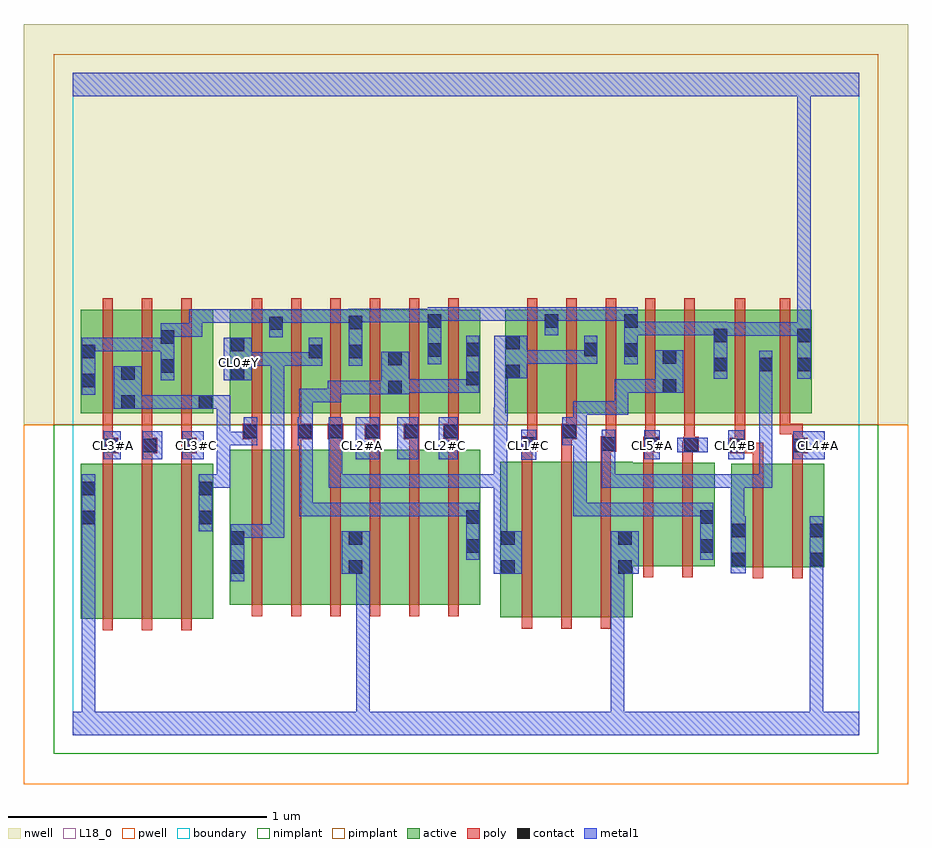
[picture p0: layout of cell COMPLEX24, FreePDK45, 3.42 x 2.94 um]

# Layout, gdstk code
import gdstk
lib = gdstk.Library(unit=1e-6, precision=1e-09)
def R(c, l, rs):  # rectangles x0, y0, x1, y1
    for r in rs: c.add(gdstk.rectangle(r[:2], r[2:], *l))
def A(c, l, x, y, w, h, nx, ny, dx, dy):  # array of equal rectangles
    R(c, l, [(x+i*dx, y+j*dy, x+i*dx+w, y+j*dy+h) for i in range(nx) for j in range(ny)])
active = (1, 0)
pwell = (2, 0)
nwell = (3, 0)
nimplant = (4, 0)
pimplant = (5, 0)
poly = (9, 0)
contact = (10, 0)
metal1 = (11, 0)
L18_0 = (18, 0)
boundary = (235, 0)

complex24 = lib.new_cell('COMPLEX24')
A(complex24, active, 0.032, 1.244, 0.06, 0.4, 3, 1, 0.152, 0)
A(complex24, active, 1.064, 1.244, 0.06, 0.4, 3, 1, 0.152, 0)
R(complex24, active, [(0.032,0.45,0.212,1.05), (0.032,0.45,0.092,1.05), (0.212,0.45,0.364,1.05), (0.364,0.45,0.544,1.05), (0.484,0.45,0.544,1.05), (1.652,0.456,1.832,1.056), (1.832,0.456,1.984,1.056), (1.984,0.456,2.164,1.056), (2.104,0.456,2.164,0.792), (0.608,0.504,0.788,1.104), (0.788,0.504,0.94,1.104), (0.94,0.504,1.124,1.104), (1.064,0.504,1.244,1.104), (1.244,0.504,1.396,1.104), (1.396,0.504,1.576,1.104), (0.608,0.556,0.668,1.104), (1.064,0.556,1.124,0.792), (1.516,0.556,1.576,1.104), (1.652,0.556,1.712,1.056), (2.544,0.65,2.604,1.05), (2.544,0.65,2.724,1.05), (2.724,0.65,2.904,1.05), (2.844,0.65,2.904,1.05), (2.104,0.654,2.3,1.054), (2.3,0.654,2.48,1.054), (2.42,0.702,2.48,1.054), (0.032,1.244,0.244,1.644), (0.184,1.244,0.396,1.644), (0.336,1.244,0.544,1.644), (0.484,1.244,0.544,1.644), (0.608,1.244,0.668,1.644), (0.608,1.244,0.816,1.644), (0.756,1.244,0.816,1.644), (0.756,1.244,0.968,1.644), (0.908,1.244,0.968,1.644), (0.908,1.244,1.124,1.644), (1.064,1.244,1.276,1.644), (1.216,1.244,1.428,1.644), (1.368,1.244,1.576,1.644), (1.516,1.244,1.576,1.644), (1.672,1.244,1.732,1.644), (1.672,1.244,1.88,1.644), (1.82,1.244,1.88,1.644), (1.82,1.244,2.032,1.644), (1.972,1.244,2.032,1.644), (1.972,1.244,2.188,1.644), (2.128,1.244,2.188,1.644), (2.128,1.244,2.336,1.644), (2.276,1.244,2.336,1.644), (2.276,1.244,2.534,1.644), (2.474,1.244,2.534,1.644), (2.474,1.244,2.708,1.644), (2.648,1.244,2.708,1.644), (2.648,1.244,2.856,1.644), (2.796,1.244,2.856,1.644)])
R(complex24, pwell, [(-0.188,-0.188,3.228,1.2)])
R(complex24, nwell, [(-0.188,1.2,3.228,2.748)])
R(complex24, nimplant, [(-0.072,-0.072,3.112,1.2)])
R(complex24, pimplant, [(-0.072,1.2,3.112,2.632)])
A(complex24, poly, 0.116, 0.406, 0.04, 0.688, 3, 1, 0.152, 0)
A(complex24, poly, 1.736, 0.412, 0.04, 0.688, 3, 1, 0.152, 0)
A(complex24, poly, 0.692, 0.46, 0.04, 0.688, 6, 1, 0.152, 0)
A(complex24, poly, 0.116, 1.054, 0.04, 0.076, 3, 1, 0.152, 0)
A(complex24, poly, 0.116, 1.09, 0.06, 0.06, 3, 1, 0.152, 0)
A(complex24, poly, 0.692, 1.108, 0.04, 0.076, 6, 1, 0.152, 0)
A(complex24, poly, 0.116, 1.11, 0.04, 0.13, 3, 1, 0.152, 0)
A(complex24, poly, 1.128, 1.144, 0.06, 0.06, 3, 1, 0.152, 0)
A(complex24, poly, 0.844, 1.164, 0.04, 0.076, 5, 1, 0.152, 0)
A(complex24, poly, 0.116, 1.2, 0.04, 0.488, 3, 1, 0.152, 0)
A(complex24, poly, 0.844, 1.2, 0.04, 0.488, 5, 1, 0.152, 0)
A(complex24, poly, 1.756, 1.2, 0.04, 0.488, 5, 1, 0.152, 0)
R(complex24, poly, [(2.628,0.606,2.668,1.094), (2.78,0.606,2.82,1.094), (2.204,0.61,2.244,1.098), (2.356,0.61,2.396,1.098), (2.628,1.054,2.668,1.13), (2.78,1.054,2.82,1.13), (2.204,1.058,2.244,1.134), (2.356,1.058,2.396,1.134), (1.736,1.06,1.776,1.136), (1.888,1.06,1.928,1.184), (2.04,1.06,2.08,1.136), (0.116,1.09,0.156,1.13), (0.116,1.09,0.156,1.13), (0.268,1.09,0.308,1.13), (0.268,1.09,0.308,1.13), (0.42,1.09,0.46,1.13), (0.42,1.09,0.46,1.13), (2.538,1.09,2.598,1.15), (2.558,1.09,2.598,1.13), (2.558,1.09,2.668,1.13), (2.78,1.09,2.84,1.15), (2.204,1.094,2.264,1.154), (2.204,1.094,2.244,1.134), (2.204,1.094,2.244,1.134), (2.356,1.094,2.4,1.134), (2.36,1.094,2.42,1.154), (2.36,1.094,2.4,1.134), (1.736,1.096,1.796,1.156), (2.04,1.096,2.1,1.156), (2.558,1.11,2.598,1.24), (2.78,1.11,2.82,1.204), (2.212,1.114,2.252,1.24), (2.364,1.114,2.404,1.24), (1.756,1.116,1.796,1.156), (1.756,1.116,1.796,1.156), (1.756,1.116,1.796,1.24), (2.06,1.116,2.1,1.156), (2.06,1.116,2.1,1.156), (2.06,1.116,2.1,1.24), (0.658,1.144,0.732,1.204), (0.692,1.144,0.732,1.184), (0.692,1.144,0.732,1.184), (0.844,1.144,0.884,1.184), (0.844,1.144,0.884,1.184), (0.844,1.144,0.926,1.204), (0.986,1.144,1.046,1.204), (1.148,1.144,1.188,1.184), (1.148,1.144,1.188,1.184), (1.3,1.144,1.34,1.184), (1.3,1.144,1.34,1.184), (1.452,1.144,1.492,1.184), (1.452,1.144,1.492,1.184), (1.888,1.144,1.948,1.204), (1.888,1.144,1.928,1.184), (1.888,1.144,1.928,1.184), (0.692,1.164,0.732,1.204), (0.692,1.164,0.732,1.688), (0.996,1.164,1.036,1.204), (0.996,1.164,1.036,1.204), (1.908,1.164,1.948,1.24), (2.732,1.164,2.772,1.24), (2.732,1.164,2.82,1.204), (2.558,1.2,2.598,1.688), (2.732,1.2,2.772,1.688)])
A(complex24, contact, 0.12, 1.094, 0.052, 0.052, 3, 1, 0.152, 0)
A(complex24, contact, 1.132, 1.148, 0.052, 0.052, 3, 1, 0.152, 0)
R(complex24, contact, [(0.612,0.624,0.664,0.676), (1.068,0.624,1.12,0.676), (1.656,0.624,1.708,0.676), (2.108,0.624,2.16,0.676), (2.548,0.654,2.6,0.706), (2.848,0.654,2.9,0.706), (1.52,0.706,1.572,0.758), (2.424,0.706,2.476,0.758), (0.612,0.736,0.664,0.788), (1.068,0.736,1.12,0.788), (1.656,0.736,1.708,0.788), (2.108,0.736,2.16,0.788), (2.548,0.766,2.6,0.818), (2.848,0.766,2.9,0.818), (0.036,0.816,0.088,0.868), (0.488,0.816,0.54,0.868), (1.52,0.818,1.572,0.87), (2.424,0.818,2.476,0.87), (0.036,0.928,0.088,0.98), (0.488,0.928,0.54,0.98), (2.542,1.094,2.594,1.146), (2.784,1.094,2.836,1.146), (2.208,1.098,2.26,1.15), (2.364,1.098,2.416,1.15), (1.74,1.1,1.792,1.152), (2.044,1.1,2.096,1.152), (0.662,1.148,0.714,1.2), (0.87,1.148,0.922,1.2), (0.99,1.148,1.042,1.2), (1.892,1.148,1.944,1.2), (0.188,1.262,0.24,1.314), (0.488,1.262,0.54,1.314), (1.22,1.318,1.272,1.37), (2.28,1.324,2.332,1.376), (0.036,1.344,0.088,1.396), (1.52,1.352,1.572,1.404), (0.612,1.372,0.664,1.424), (0.188,1.374,0.24,1.426), (1.676,1.38,1.728,1.432), (0.34,1.4,0.392,1.452), (2.478,1.406,2.53,1.458), (2.652,1.406,2.704,1.458), (2.8,1.406,2.852,1.458), (1.22,1.43,1.272,1.482), (2.28,1.436,2.332,1.488), (0.036,1.456,0.088,1.508), (0.912,1.456,0.964,1.508), (1.068,1.456,1.12,1.508), (1.372,1.462,1.424,1.514), (2.132,1.462,2.184,1.514), (1.52,1.464,1.572,1.516), (1.976,1.464,2.028,1.516), (0.612,1.484,0.664,1.536), (1.676,1.492,1.728,1.544), (0.34,1.512,0.392,1.564), (2.478,1.518,2.53,1.57), (2.8,1.518,2.852,1.57), (0.76,1.566,0.812,1.618), (1.068,1.568,1.12,1.62), (1.372,1.574,1.424,1.626), (1.824,1.574,1.876,1.626), (2.132,1.574,2.184,1.626)])
R(complex24, metal1, [(0,0,3.04,0.092), (0.036,0.04,0.088,0.092), (0.036,0.04,0.088,0.092), (0.036,0.04,0.088,0.092), (0.036,0.04,0.088,0.092), (0.036,0.04,0.088,0.092), (0.036,0.04,0.088,0.092), (0.036,0.04,0.088,0.092), (0.036,0.04,0.088,0.092), (0.036,0.04,0.088,0.84), (1.096,0.04,1.148,0.092), (1.096,0.04,1.148,0.092), (1.096,0.04,1.148,0.092), (1.096,0.04,1.148,0.092), (1.096,0.04,1.148,0.092), (1.096,0.04,1.148,0.092), (1.096,0.04,1.148,0.092), (1.096,0.04,1.148,0.092), (1.096,0.04,1.148,0.676), (2.08,0.04,2.132,0.092), (2.08,0.04,2.132,0.092), (2.08,0.04,2.132,0.092), (2.08,0.04,2.132,0.092), (2.08,0.04,2.132,0.092), (2.08,0.04,2.132,0.092), (2.08,0.04,2.132,0.092), (2.08,0.04,2.132,0.092), (2.08,0.04,2.132,0.676), (2.848,0.04,2.9,0.092), (2.848,0.04,2.9,0.092), (2.848,0.04,2.9,0.092), (2.848,0.04,2.9,0.092), (2.848,0.04,2.9,0.092), (2.848,0.04,2.9,0.092), (2.848,0.04,2.9,0.092), (2.848,0.04,2.9,0.092), (2.848,0.04,2.9,0.092), (2.848,0.04,2.9,0.092), (2.848,0.04,2.9,0.678), (0.612,0.596,0.664,0.816), (1.04,0.624,1.148,0.788), (1.628,0.624,1.736,0.788), (2.08,0.624,2.188,0.788), (2.542,0.626,2.6,0.846), (2.848,0.626,2.9,0.678), (2.848,0.626,2.9,0.678), (2.848,0.626,2.9,0.846), (1.52,0.678,1.572,0.898), (2.424,0.678,2.476,0.898), (1.628,0.736,1.68,1.008), (0.612,0.764,0.812,0.816), (0.76,0.764,0.812,0.816), (0.76,0.764,0.818,0.816), (0.766,0.764,0.818,0.816), (0.766,0.764,0.818,0.816), (0.766,0.764,0.818,0.816), (0.766,0.764,0.818,1.48), (0.036,0.788,0.088,1.008), (0.488,0.788,0.54,1.008), (2.542,0.794,2.594,1.008), (0.876,0.846,0.928,0.898), (0.876,0.846,0.928,1.228), (0.876,0.846,1.036,0.898), (0.984,0.846,1.036,0.898), (0.984,0.846,1.134,0.898), (1.082,0.846,1.134,0.898), (1.082,0.846,1.152,0.898), (1.1,0.846,1.152,0.898), (1.1,0.846,1.314,0.898), (1.262,0.846,1.314,0.898), (1.262,0.846,1.314,0.898), (1.262,0.846,1.314,0.898), (1.262,0.846,1.462,0.898), (1.41,0.846,1.462,0.898), (1.41,0.846,1.462,0.898), (1.41,0.846,1.462,0.898), (1.41,0.846,1.572,0.898), (1.934,0.846,1.986,0.898), (1.934,0.846,2.096,0.898), (1.934,0.846,1.986,1.228), (2.044,0.846,2.096,0.898), (2.044,0.846,2.096,0.898), (2.044,0.846,2.096,0.898), (2.044,0.846,2.256,0.898), (2.204,0.846,2.256,0.898), (2.204,0.846,2.366,0.898), (2.314,0.846,2.366,0.898), (2.314,0.846,2.366,0.898), (2.314,0.846,2.366,0.898), (2.314,0.846,2.476,0.898), (0.488,0.956,0.54,1.008), (0.488,0.956,0.61,1.008), (0.558,0.956,0.61,1.172), (0.99,0.956,1.152,1.008), (0.99,0.956,1.042,1.172), (1.1,0.956,1.152,1.008), (1.1,0.956,1.262,1.008), (1.21,0.956,1.262,1.008), (1.21,0.956,1.262,1.008), (1.21,0.956,1.262,1.008), (1.21,0.956,1.462,1.008), (1.41,0.956,1.462,1.008), (1.41,0.956,1.462,1.008), (1.41,0.956,1.462,1.008), (1.41,0.956,1.572,1.008), (1.52,0.956,1.572,1.008), (1.52,0.956,1.68,1.008), (1.628,0.956,1.68,1.008), (1.628,0.956,1.68,1.266), (2.044,0.956,2.256,1.008), (2.044,0.956,2.096,1.124), (2.204,0.956,2.256,1.008), (2.204,0.956,2.366,1.008), (2.314,0.956,2.366,1.008), (2.314,0.956,2.366,1.008), (2.314,0.956,2.366,1.008), (2.314,0.956,2.476,1.008), (2.424,0.956,2.476,1.008), (2.424,0.956,2.594,1.008), (2.542,0.956,2.594,1.008), (2.542,0.956,2.594,1.008), (2.542,0.956,2.594,1.008), (2.542,0.956,2.704,1.008), (2.652,0.956,2.704,1.008), (2.652,0.956,2.704,1.008), (2.652,0.956,2.704,1.008), (2.652,0.956,2.704,1.43), (1.734,1.064,1.792,1.18), (0.12,1.066,0.186,1.174), (0.272,1.066,0.346,1.174), (0.424,1.066,0.506,1.174), (1.094,1.066,1.184,1.228), (1.254,1.066,1.336,1.228), (1.414,1.066,1.488,1.228), (2.208,1.066,2.268,1.178), (2.534,1.066,2.594,1.178), (2.784,1.066,2.906,1.174), (2.044,1.072,2.096,1.124), (2.044,1.072,2.096,1.18), (2.336,1.094,2.454,1.15), (0.558,1.12,0.61,1.172), (0.558,1.12,0.616,1.172), (0.558,1.12,0.61,1.314), (0.564,1.12,0.616,1.172), (0.564,1.12,0.714,1.172), (0.662,1.12,0.714,1.228), (0.87,1.12,0.922,1.228), (0.99,1.12,1.042,1.172), (0.99,1.12,1.042,1.228), (1.892,1.12,1.944,1.228), (0.87,1.176,0.928,1.228), (0.876,1.176,0.928,1.228), (0.876,1.176,0.928,1.228), (0.876,1.176,0.928,1.338), (1.892,1.176,1.986,1.228), (1.934,1.176,1.986,1.228), (1.934,1.176,1.986,1.228), (1.934,1.176,1.986,1.29), (1.628,1.214,1.682,1.266), (1.63,1.214,1.682,1.432), (1.934,1.238,2.146,1.29), (2.094,1.238,2.146,1.29), (2.094,1.238,2.146,1.29), (2.094,1.238,2.146,1.29), (2.094,1.238,2.146,1.376), (0.16,1.262,0.268,1.426), (0.216,1.262,0.268,1.314), (0.216,1.262,0.268,1.314), (0.216,1.262,0.378,1.314), (0.326,1.262,0.378,1.314), (0.326,1.262,0.378,1.314), (0.326,1.262,0.378,1.314), (0.326,1.262,0.512,1.314), (0.46,1.262,0.61,1.314), (0.876,1.286,1.036,1.338), (0.984,1.286,1.036,1.338), (0.984,1.286,1.038,1.338), (0.986,1.286,1.038,1.338), (0.986,1.286,1.038,1.37), (0.036,1.316,0.088,1.536), (0.986,1.318,1.038,1.37), (0.986,1.318,1.152,1.37), (1.1,1.318,1.152,1.37), (1.1,1.318,1.244,1.37), (1.192,1.318,1.3,1.482), (1.248,1.324,1.3,1.376), (1.248,1.324,1.3,1.376), (1.248,1.324,1.462,1.376), (1.41,1.324,1.462,1.376), (1.41,1.324,1.462,1.376), (1.41,1.324,1.462,1.376), (1.41,1.324,1.572,1.376), (1.52,1.324,1.572,1.544), (2.094,1.324,2.146,1.376), (2.094,1.324,2.256,1.376), (2.204,1.324,2.256,1.376), (2.204,1.324,2.304,1.376), (2.252,1.324,2.36,1.488), (0.34,1.372,0.392,1.592), (0.584,1.372,0.692,1.536), (2.478,1.378,2.53,1.598), (2.652,1.378,2.704,1.486), (2.8,1.378,2.852,1.598), (1.63,1.38,1.756,1.544), (0.64,1.428,0.812,1.48), (0.76,1.428,0.812,1.48), (0.76,1.428,0.812,1.48), (0.76,1.428,0.818,1.48), (0.766,1.428,0.818,1.48), (0.766,1.428,0.818,1.48), (0.766,1.428,0.818,1.48), (0.766,1.428,0.818,1.48), (0.766,1.428,0.922,1.48), (0.87,1.428,0.922,1.48), (0.87,1.428,0.964,1.48), (0.912,1.428,0.964,1.536), (1.068,1.428,1.12,1.648), (1.372,1.434,1.424,1.654), (2.132,1.434,2.184,1.654), (1.704,1.436,1.756,1.488), (1.704,1.436,1.756,1.488), (1.704,1.436,1.876,1.488), (1.824,1.436,1.876,1.488), (1.824,1.436,1.876,1.488), (1.824,1.436,1.876,1.488), (1.824,1.436,2.028,1.488), (1.976,1.436,2.028,1.544), (0.036,1.484,0.088,1.536), (0.036,1.484,0.088,1.536), (0.036,1.484,0.268,1.536), (0.216,1.484,0.268,1.536), (0.216,1.484,0.268,1.536), (0.216,1.484,0.268,1.536), (0.216,1.484,0.392,1.536), (0.76,1.538,0.812,1.646), (0.34,1.54,0.502,1.592), (0.45,1.54,0.502,1.646), (2.478,1.544,2.726,1.596), (2.674,1.544,2.726,1.596), (2.674,1.544,2.726,1.596), (2.674,1.544,2.726,1.596), (2.674,1.544,2.852,1.596), (2.8,1.544,2.852,1.596), (2.8,1.544,2.852,1.596), (1.824,1.546,1.876,1.654), (2.132,1.546,2.256,1.598), (2.204,1.546,2.256,1.598), (2.204,1.546,2.366,1.598), (2.314,1.546,2.366,1.598), (2.314,1.546,2.366,1.598), (2.314,1.546,2.366,1.598), (2.314,1.546,2.476,1.598), (2.424,1.546,2.476,1.598), (2.424,1.546,2.53,1.598), (2.8,1.546,2.852,1.598), (2.8,1.546,2.852,1.598), (2.8,1.546,2.852,1.598), (2.8,1.546,2.852,1.598), (2.8,1.546,2.852,1.598), (2.8,1.546,2.852,1.598), (2.8,1.546,2.852,1.598), (2.8,1.546,2.852,1.598), (2.8,1.546,2.852,1.598), (2.8,1.546,2.852,1.598), (2.8,1.546,2.852,1.598), (2.8,1.546,2.852,1.598), (2.8,1.546,2.852,2.52), (0.45,1.594,0.502,1.646), (0.45,1.594,0.502,1.646), (0.45,1.594,0.702,1.646), (0.65,1.594,0.702,1.646), (0.65,1.594,0.812,1.646), (0.76,1.594,0.812,1.646), (0.76,1.594,0.812,1.646), (0.76,1.594,0.922,1.646), (0.87,1.594,0.922,1.646), (0.87,1.594,0.928,1.646), (0.876,1.594,0.928,1.646), (0.876,1.594,1.032,1.646), (0.98,1.594,1.032,1.646), (0.98,1.594,1.12,1.646), (1.068,1.596,1.152,1.648), (1.1,1.596,1.152,1.648), (1.1,1.596,1.262,1.648), (1.21,1.596,1.262,1.648), (1.21,1.596,1.262,1.648), (1.21,1.596,1.262,1.648), (1.21,1.596,1.424,1.648), (1.372,1.602,1.424,1.654), (1.372,1.602,1.424,1.654), (1.372,1.602,1.572,1.654), (1.52,1.602,1.572,1.654), (1.52,1.602,1.572,1.654), (1.52,1.602,1.572,1.654), (1.52,1.602,1.682,1.654), (1.63,1.602,1.682,1.654), (1.63,1.602,1.876,1.654), (1.824,1.602,1.986,1.654), (1.934,1.602,1.986,1.654), (1.934,1.602,1.986,1.654), (1.934,1.602,1.986,1.654), (1.934,1.602,2.146,1.654), (2.094,1.602,2.146,1.654), (2.094,1.602,2.184,1.654), (0,2.468,3.04,2.56), (2.8,2.468,2.852,2.52), (2.8,2.468,2.852,2.52), (2.8,2.468,2.852,2.52), (2.8,2.468,2.852,2.52)])
A(complex24, L18_0, 0.134, 1.094, 0.052, 0.052, 3, 1, 0.16, 0)
A(complex24, L18_0, 1.094, 1.094, 0.052, 0.052, 3, 1, 0.16, 0)
A(complex24, L18_0, 2.214, 1.094, 0.052, 0.052, 3, 1, 0.16, 0)
R(complex24, L18_0, [(0,0,3.04,0.092), (0.036,0.04,0.088,0.092), (0.036,0.04,0.088,0.092), (0.036,0.04,0.088,0.092), (0.036,0.04,0.088,0.092), (0.036,0.04,0.088,0.092), (0.036,0.04,0.088,0.092), (0.036,0.04,0.088,0.092), (0.036,0.04,0.088,0.092), (0.036,0.04,0.088,0.84), (1.096,0.04,1.148,0.092), (1.096,0.04,1.148,0.092), (1.096,0.04,1.148,0.092), (1.096,0.04,1.148,0.092), (1.096,0.04,1.148,0.092), (1.096,0.04,1.148,0.092), (1.096,0.04,1.148,0.092), (1.096,0.04,1.148,0.092), (1.096,0.04,1.148,0.676), (2.08,0.04,2.132,0.092), (2.08,0.04,2.132,0.092), (2.08,0.04,2.132,0.092), (2.08,0.04,2.132,0.092), (2.08,0.04,2.132,0.092), (2.08,0.04,2.132,0.092), (2.08,0.04,2.132,0.092), (2.08,0.04,2.132,0.092), (2.08,0.04,2.132,0.676), (2.848,0.04,2.9,0.092), (2.848,0.04,2.9,0.092), (2.848,0.04,2.9,0.092), (2.848,0.04,2.9,0.092), (2.848,0.04,2.9,0.092), (2.848,0.04,2.9,0.092), (2.848,0.04,2.9,0.092), (2.848,0.04,2.9,0.092), (2.848,0.04,2.9,0.092), (2.848,0.04,2.9,0.092), (2.848,0.04,2.9,0.678), (0.612,0.596,0.664,0.816), (1.04,0.624,1.148,0.788), (2.08,0.624,2.188,0.788), (2.848,0.626,2.9,0.678), (2.848,0.626,2.9,0.678), (2.848,0.626,2.9,0.846), (0.612,0.764,0.812,0.816), (0.76,0.764,0.812,0.816), (0.76,0.764,0.818,0.816), (0.766,0.764,0.818,0.816), (0.766,0.764,0.818,0.816), (0.766,0.764,0.818,0.816), (0.766,0.764,0.818,1.48), (0.036,0.788,0.088,1.008), (1.734,1.064,1.792,1.18), (0.12,1.066,0.186,1.174), (0.272,1.066,0.346,1.174), (0.424,1.066,0.506,1.174), (1.094,1.066,1.184,1.228), (1.254,1.066,1.336,1.228), (1.414,1.066,1.488,1.228), (2.208,1.066,2.268,1.178), (2.534,1.066,2.594,1.178), (2.784,1.066,2.906,1.174), (1.734,1.094,1.786,1.146), (2.336,1.094,2.454,1.15), (2.854,1.094,2.906,1.146), (0.036,1.316,0.088,1.536), (0.34,1.372,0.392,1.592), (0.584,1.372,0.692,1.536), (2.478,1.378,2.53,1.598), (2.8,1.378,2.852,1.598), (0.614,1.414,0.666,1.466), (0.64,1.428,0.812,1.48), (0.76,1.428,0.812,1.48), (0.76,1.428,0.812,1.48), (0.76,1.428,0.818,1.48), (0.766,1.428,0.818,1.48), (0.766,1.428,0.818,1.48), (0.766,1.428,0.818,1.48), (0.766,1.428,0.818,1.48), (0.766,1.428,0.922,1.48), (0.87,1.428,0.922,1.48), (0.87,1.428,0.964,1.48), (0.912,1.428,0.964,1.536), (1.068,1.428,1.12,1.648), (1.372,1.434,1.424,1.654), (2.132,1.434,2.184,1.654), (0.036,1.484,0.088,1.536), (0.036,1.484,0.088,1.536), (0.036,1.484,0.268,1.536), (0.216,1.484,0.268,1.536), (0.216,1.484,0.268,1.536), (0.216,1.484,0.268,1.536), (0.216,1.484,0.392,1.536), (0.76,1.538,0.812,1.646), (0.34,1.54,0.502,1.592), (0.45,1.54,0.502,1.646), (2.478,1.544,2.726,1.596), (2.674,1.544,2.726,1.596), (2.674,1.544,2.726,1.596), (2.674,1.544,2.726,1.596), (2.674,1.544,2.852,1.596), (2.8,1.544,2.852,1.596), (2.8,1.544,2.852,1.596), (1.824,1.546,1.876,1.654), (2.132,1.546,2.256,1.598), (2.204,1.546,2.256,1.598), (2.204,1.546,2.366,1.598), (2.314,1.546,2.366,1.598), (2.314,1.546,2.366,1.598), (2.314,1.546,2.366,1.598), (2.314,1.546,2.476,1.598), (2.424,1.546,2.476,1.598), (2.424,1.546,2.53,1.598), (2.8,1.546,2.852,1.598), (2.8,1.546,2.852,1.598), (2.8,1.546,2.852,1.598), (2.8,1.546,2.852,1.598), (2.8,1.546,2.852,1.598), (2.8,1.546,2.852,1.598), (2.8,1.546,2.852,1.598), (2.8,1.546,2.852,1.598), (2.8,1.546,2.852,1.598), (2.8,1.546,2.852,1.598), (2.8,1.546,2.852,1.598), (2.8,1.546,2.852,1.598), (2.8,1.546,2.852,2.52), (0.45,1.594,0.502,1.646), (0.45,1.594,0.502,1.646), (0.45,1.594,0.702,1.646), (0.65,1.594,0.702,1.646), (0.65,1.594,0.812,1.646), (0.76,1.594,0.812,1.646), (0.76,1.594,0.812,1.646), (0.76,1.594,0.922,1.646), (0.87,1.594,0.922,1.646), (0.87,1.594,0.928,1.646), (0.876,1.594,0.928,1.646), (0.876,1.594,1.032,1.646), (0.98,1.594,1.032,1.646), (0.98,1.594,1.12,1.646), (1.068,1.596,1.152,1.648), (1.1,1.596,1.152,1.648), (1.1,1.596,1.262,1.648), (1.21,1.596,1.262,1.648), (1.21,1.596,1.262,1.648), (1.21,1.596,1.262,1.648), (1.21,1.596,1.424,1.648), (1.372,1.602,1.424,1.654), (1.372,1.602,1.424,1.654), (1.372,1.602,1.572,1.654), (1.52,1.602,1.572,1.654), (1.52,1.602,1.572,1.654), (1.52,1.602,1.572,1.654), (1.52,1.602,1.682,1.654), (1.63,1.602,1.682,1.654), (1.63,1.602,1.876,1.654), (1.824,1.602,1.986,1.654), (1.934,1.602,1.986,1.654), (1.934,1.602,1.986,1.654), (1.934,1.602,1.986,1.654), (1.934,1.602,2.146,1.654), (2.094,1.602,2.146,1.654), (2.094,1.602,2.184,1.654), (0,2.468,3.04,2.56), (2.8,2.468,2.852,2.52), (2.8,2.468,2.852,2.52), (2.8,2.468,2.852,2.52), (2.8,2.468,2.852,2.52)])
R(complex24, boundary, [(0,0,3.04,2.56)])
complex24.add(gdstk.Label('CL0#Y', (0.64,1.44), layer=11, texttype=0))
complex24.add(gdstk.Label('CL1#C', (1.76,1.12), layer=11, texttype=0))
complex24.add(gdstk.Label('CL2#A', (1.12,1.12), layer=11, texttype=0))
complex24.add(gdstk.Label('CL2#B', (1.28,1.12), layer=11, texttype=0))
complex24.add(gdstk.Label('CL2#C', (1.44,1.12), layer=11, texttype=0))
complex24.add(gdstk.Label('CL3#A', (0.16,1.12), layer=11, texttype=0))
complex24.add(gdstk.Label('CL3#B', (0.32,1.12), layer=11, texttype=0))
complex24.add(gdstk.Label('CL3#C', (0.48,1.12), layer=11, texttype=0))
complex24.add(gdstk.Label('CL4#A', (2.88,1.12), layer=11, texttype=0))
complex24.add(gdstk.Label('CL4#B', (2.56,1.12), layer=11, texttype=0))
complex24.add(gdstk.Label('CL5#A', (2.24,1.12), layer=11, texttype=0))
complex24.add(gdstk.Label('CL5#B', (2.4,1.12), layer=11, texttype=0))

lib.write_gds('COMPLEX24.gds')
